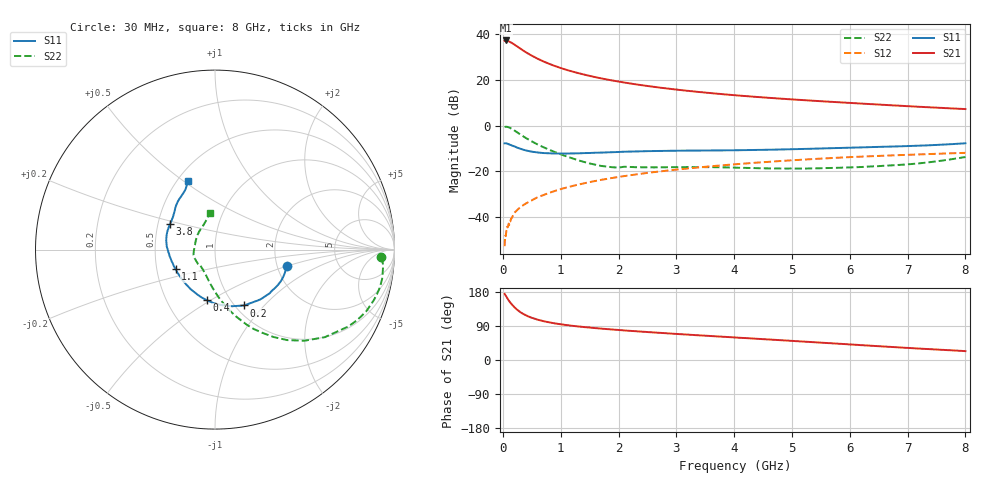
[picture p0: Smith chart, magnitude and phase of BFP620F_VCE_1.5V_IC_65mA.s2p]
! Infineon Technologies  Discrete & RF Semiconductors
! BFP620F
! VCE =  1.5 V,  IC =  65 mA
! Common Emitter S-Parameters:  Dec 2014
# GHz  S  MA  R  50
!  f  S11  S21  S12  S22
! GHz  MAG  ANG  MAG  ANG  MAG  ANG  MAG  ANG
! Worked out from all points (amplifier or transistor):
!   95 points, 30 MHz to 8 GHz, reference 50 ohm
!   highest |S21| = 37.3 dB at 60 MHz (marker M1)
!   |S21| within 3 dB of that: start of sweep to 269.4 MHz
!   unconditionally stable (mu >= 1): 1.695 GHz to end of sweep
!   at 300 MHz: K = 0.55, MSG = 34.7 dB, |S12| = -35.7 dB
!   at 3.3 GHz: K = 1.03, MAG = 15.6 dB, |S12| = -18.5 dB
!   at 8 GHz: K = 1.05, MAG = 8.2 dB, |S12| = -11.9 dB
!   S11 on the Smith chart (normalised r, x): 30 MHz: 2.26, -0.50; 200 MHz: 1.10, -0.78; 400 MHz: 0.79, -0.48; 1.1 GHz: 0.63, -0.14; 3.8 GHz: 0.58, +0.18; 8 GHz: 0.56, +0.52
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0.03  0.4104 -12.9  71.99 174.4  0.0023 105.3  0.9281 -2.7
0.06  0.4092 -22.3  73.28 167.1  0.0049 100.4  0.9453 -10.0
0.09  0.3975 -32.3  71.46 159.8  0.0061 84.5  0.9289 -17.6
0.13  0.379 -45.0  67.25 151.2  0.008 78.3  0.8846 -26.3
0.15  0.3702 -50.0  65.26 147.5  0.0093 79.7  0.8561 -30.1
0.2  0.3509 -62.5  59.42 139.2  0.0124 74.8  0.7824 -38.6
0.25  0.3296 -73.2  53.91 132.3  0.0143 71.7  0.7108 -45.6
0.3  0.3128 -82.6  48.83 126.5  0.0164 71.4  0.6451 -51.4
0.4  0.2861 -98.8  40.39 117.8  0.0198 71.0  0.5339 -60.3
0.5  0.2691 -111.2  34.04 111.4  0.0232 69.6  0.4527 -67.2
0.6  0.2589 -121.7  29.23 106.5  0.0271 69.6  0.3881 -72.8
0.7  0.2514 -130.1  25.53 102.5  0.0302 69.8  0.3381 -77.6
0.9  0.2452 -143.6  20.21 96.6  0.0372 70.0  0.2639 -86.0
1.1  0.2447 -153.9  16.66 92.2  0.0442 69.7  0.2123 -93.8
1.4  0.2507 -165.4  13.16 87.0  0.0545 69.1  0.161 -105.9
1.9  0.2625 -179.1  9.712 80.4  0.0719 66.9  0.1227 -129.2
2.7  0.2792 166.1  6.844 71.8  0.0989 62.4  0.1223 -152.3
3.8  0.2875 150.7  4.888 61.4  0.1356 55.5  0.1223 -168.0
4.1  0.2904 147.2  4.541 58.6  0.1453 53.5  0.1195 -172.5
5.4  0.314 135.5  3.491 46.7  0.1868 44.1  0.1162 160.1
6.7  0.348 123.9  2.802 34.6  0.2225 34.1  0.1346 130.2
8  0.4113 111.8  2.308 23.4  0.254 24.5  0.2058 98.4
